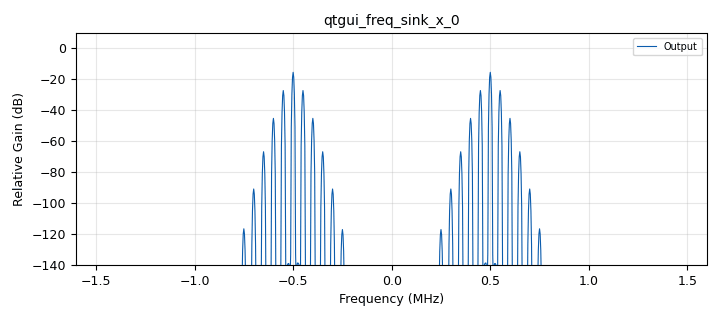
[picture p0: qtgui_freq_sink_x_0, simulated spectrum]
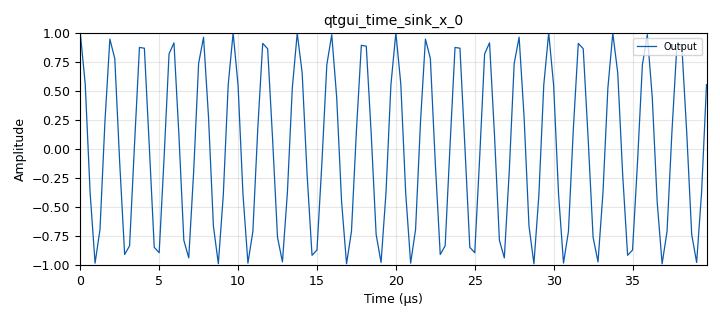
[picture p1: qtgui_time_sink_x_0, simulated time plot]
options:
  parameters:
    author: luso
    generate_options: qt_gui
    id: modfm
    output_language: python
    title: Not titled yet
  states: {}

blocks:
- name: amplitude
  id: variable_qtgui_range
  parameters:
    gui_hint: 0,0
    start: '0'
    step: '.01'
    stop: '0.1'
    value: '0.05'
  states: {}
- name: f_c
  id: variable
  parameters:
    value: '500000'
  states: {}
- name: freq
  id: variable_qtgui_range
  parameters:
    gui_hint: 0,1
    start: '1000'
    step: '1000'
    stop: '100000'
    value: '50000'
  states: {}
- name: samp_rate
  id: variable
  parameters:
    value: '3200000'
  states: {}
- name: analog_sig_source_x_0
  id: analog_sig_source_x
  parameters:
    amp: amplitude
    freq: freq
    offset: '0'
    phase: '0'
    samp_rate: samp_rate
    type: float
    waveform: analog.GR_SIN_WAVE
  states: {}
- name: blocks_add_const_vxx_0
  id: blocks_add_const_vxx
  parameters:
    const: '1'
    type: float
  states: {}
- name: blocks_throttle_0
  id: blocks_throttle
  parameters:
    samples_per_second: samp_rate
    type: float
  states: {}
- name: blocks_vco_f_0
  id: blocks_vco_f
  parameters:
    amplitude: '1'
    samp_rate: samp_rate
    sensitivity: 2*np.pi*f_c
  states: {}
- name: import_0
  id: import
  parameters:
    imports: import numpy as np
  states: {}
- name: qtgui_freq_sink_x_0
  id: qtgui_freq_sink_x
  parameters:
    bw: samp_rate
    ctrlpanel: 'True'
    fc: '0'
    fftsize: '1024'
    gui_hint: 'tab@0: 1,1'
    label1: Output
    type: float
  states: {}
- name: qtgui_time_sink_x_0
  id: qtgui_time_sink_x
  parameters:
    ctrlpanel: 'True'
    gui_hint: 'tab@0: 1,2'
    label1: Output
    size: round(2*samp_rate/freq)
    srate: samp_rate
    type: float
  states: {}
- name: tab
  id: qtgui_tab_widget
  parameters:
    label0: VCO_Tempo
    label1: VCO_Freq
    num_tabs: '2'
  states: {}
- name: virtual_sink_0
  id: virtual_sink
  parameters:
    stream_id: VCO
  states: {}

connections:
- [analog_sig_source_x_0, '0', blocks_add_const_vxx_0, '0']
- [blocks_add_const_vxx_0, '0', blocks_vco_f_0, '0']
- [blocks_throttle_0, '0', qtgui_freq_sink_x_0, '0']
- [blocks_throttle_0, '0', qtgui_time_sink_x_0, '0']
- [blocks_throttle_0, '0', virtual_sink_0, '0']
- [blocks_vco_f_0, '0', blocks_throttle_0, '0']

metadata:
  file_format: 1
  grc_version: 3.10.10.0
